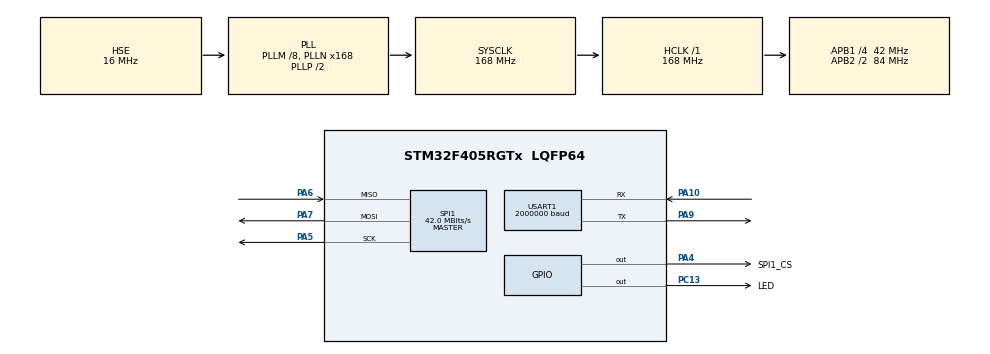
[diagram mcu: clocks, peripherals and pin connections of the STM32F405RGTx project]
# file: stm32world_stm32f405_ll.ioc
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Mcu.Family=STM32F4
Mcu.Name=STM32F405RGTx
Mcu.Package=LQFP64
NVIC.PriorityGroup=NVIC_PRIORITYGROUP_4
PA10.Mode=Asynchronous
PA10.Signal=USART1_RX
PA13.Mode=Trace_Asynchronous_SW
PA13.Signal=SYS_JTMS-SWDIO
PA14.Mode=Trace_Asynchronous_SW
PA14.Signal=SYS_JTCK-SWCLK
PA4.GPIO_Label=SPI1_CS
PA4.Signal=GPIO_Output
PA5.Mode=Full_Duplex_Master
PA5.Signal=SPI1_SCK
PA6.Mode=Full_Duplex_Master
PA6.Signal=SPI1_MISO
PA7.Mode=Full_Duplex_Master
PA7.Signal=SPI1_MOSI
PA9.Mode=Asynchronous
PA9.Signal=USART1_TX
PB3.Mode=Trace_Asynchronous_SW
PB3.Signal=SYS_JTDO-SWO
PC13-ANTI_TAMP.GPIO_Label=LED
PC13-ANTI_TAMP.GPIO_ModeDefaultOutputPP=GPIO_MODE_OUTPUT_OD
PC13-ANTI_TAMP.GPIO_PuPd=GPIO_NOPULL
PC13-ANTI_TAMP.PinState=GPIO_PIN_SET
PC13-ANTI_TAMP.Signal=GPIO_Output
PH0-OSC_IN.Mode=HSE-External-Oscillator
PH0-OSC_IN.Signal=RCC_OSC_IN
PH1-OSC_OUT.Mode=HSE-External-Oscillator
PH1-OSC_OUT.Signal=RCC_OSC_OUT
ProjectManager.HeapSize=0x200
ProjectManager.StackSize=0x400
ProjectManager.TargetToolchain=STM32CubeIDE
RCC.48MHZClocksFreq_Value=84000000
RCC.AHBFreq_Value=168000000
RCC.APB1CLKDivider=RCC_HCLK_DIV4
RCC.APB1Freq_Value=42000000
RCC.APB1TimFreq_Value=84000000
RCC.APB2CLKDivider=RCC_HCLK_DIV2
RCC.APB2Freq_Value=84000000
RCC.APB2TimFreq_Value=168000000
RCC.CortexFreq_Value=168000000
RCC.HCLKFreq_Value=168000000
RCC.HSE_VALUE=16000000
RCC.HSI_VALUE=16000000
RCC.LSE_VALUE=32768
RCC.PLLM=8
RCC.PLLN=168
RCC.PLLSourceVirtual=RCC_PLLSOURCE_HSE
RCC.SYSCLKFreq_VALUE=168000000
RCC.SYSCLKSource=RCC_SYSCLKSOURCE_PLLCLK
RCC.VCOOutputFreq_Value=336000000
SPI1.CalculateBaudRate=42.0 MBits/s
SPI1.Direction=SPI_DIRECTION_2LINES
SPI1.Mode=SPI_MODE_MASTER
SPI1.VirtualType=VM_MASTER
USART1.BaudRate=2000000
USART1.VirtualMode=VM_ASYNC
VP_CRC_VS_CRC.Mode=CRC_Activate
board=custom

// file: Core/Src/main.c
/* USER CODE BEGIN Header */
/**
 ******************************************************************************
 * @file           : main.c
 * @brief          : Main program body
 ******************************************************************************
 * @attention
 *
 * Copyright (c) 2025 Lars Boegild Thomsen <lbthomsen@gmail.com>
 * All rights reserved.
 *
 * This software is licensed under terms that can be found in the LICENSE file
 * in the root directory of this software component.
 * If no LICENSE file comes with this software, it is provided AS-IS.
 *
 ******************************************************************************
 */
/* USER CODE END Header */
#include "main.h"

/* USER CODE BEGIN Includes */
#include <stdio.h>
#include <string.h>
#include "w25qxx.h"
/* USER CODE END Includes */

/* USER CODE BEGIN PD */
#define PAGE_SIZE 4096
/* USER CODE END PD */

CRC_HandleTypeDef hcrc;

UART_HandleTypeDef huart1;

/* USER CODE BEGIN PV */
W25QXX_HandleTypeDef w25qxx; // Handler for all w25qxx operations!
/* USER CODE END PV */

void SystemClock_Config(void);
static void MX_GPIO_Init(void);
static void MX_SPI1_Init(void);
static void MX_USART1_UART_Init(void);
static void MX_CRC_Init(void);

/* USER CODE BEGIN 0 */

// Send printf to uart1
int _write(int fd, char *ptr, int len) {
    HAL_StatusTypeDef hstatus;

    if (fd == 1 || fd == 2) {
        hstatus = HAL_UART_Transmit(&huart1, (uint8_t*) ptr, len, HAL_MAX_DELAY);
        if (hstatus == HAL_OK)
            return len;
        else
            return -1;
    }
    return -1;
}

// Dump hex to serial console
void dump_hex(char *header, uint32_t start, uint8_t *buf, uint32_t len) {
    uint32_t i = 0;

    printf("%s\n", header);

    for (i = 0; i < len; ++i) {

        if (i % 16 == 0) {
            printf("0x%08lx: ", start);
        }

        printf("%02x ", buf[i]);

        if ((i + 1) % 16 == 0) {
            printf("\n");
        }

        ++start;
    }
}

void fill_buffer(uint8_t pattern, uint8_t *buf, uint32_t len) {
    switch (pattern) {
    case 0:
        memset(buf, 0, len);
        break;
    case 1:
        memset(buf, 0xaa, len); // 10101010
        break;
    case 2:
        for (uint32_t i = 0; i < len; ++i)
            buf[i] = i % 256;
        break;
    default:
        DBG("Programmer is a moron");
    }
}

uint8_t check_buffer(uint8_t pattern, uint8_t *buf, uint32_t len) {

    uint8_t ret = 1;

    switch (pattern) {
    case 0:
        for (uint32_t i = 0; i < len; ++i) {
            if (buf[i] != 0)
                ret = 0;
        }
        break;
    case 1:
        for (uint32_t i = 0; i < len; ++i) {
            if (buf[i] != 0xaa)
                ret = 0;
        }
        break;
    case 2:
        for (uint32_t i = 0; i < len; ++i) {
            if (buf[i] != i % 256)
                ret = 0;
        }
        break;
    default:
        DBG("Programmer is a moron");
    }

    return ret;
}

uint32_t get_sum(uint8_t *buf, uint32_t len) {
    uint32_t sum = 0;
    for (uint32_t i = 0; i < len; ++i) {
        sum += buf[i];
    }
    return sum;
}

/* USER CODE END 0 */

int main(void)
{

  /* MCU Configuration--------------------------------------------------------*/

  /* Reset of all peripherals, Initializes the Flash interface and the Systick. */
  HAL_Init();

  /* Configure the system clock */
  SystemClock_Config();

  /* Initialize all configured peripherals */
  MX_GPIO_Init();
  MX_SPI1_Init();
  MX_USART1_UART_Init();
  MX_CRC_Init();
  /* USER CODE BEGIN 2 */

    DBG("\n\n\n--------\nCore and peripherals has been initialized\n");

    HAL_Delay(10); // Wait a bit to make sure the w25qxx is ready

    W25QXX_result_t res;

    res = w25qxx_init(&w25qxx, &hspi1, SPI1_CS_GPIO_Port, SPI1_CS_Pin);

    if (res == W25QXX_Ok) {
        DBG("W25QXX successfully initialized\n");
        DBG("Manufacturer       = 0x%2x\n", w25qxx.manufacturer_id);
        DBG("Device             = 0x%4x\n", w25qxx.device_id);
        DBG("Block size         = 0x%04lx (%lu)\n", w25qxx.block_size, w25qxx.block_size);
        DBG("Block count        = 0x%04lx (%lu)\n", w25qxx.block_count, w25qxx.block_count);
        DBG("Sector size        = 0x%04lx (%lu)\n", w25qxx.sector_size, w25qxx.sector_size);
        DBG("Sectors per block  = 0x%04lx (%lu)\n", w25qxx.sectors_in_block, w25qxx.sectors_in_block);
        DBG("Page size          = 0x%04lx (%lu)\n", w25qxx.page_size, w25qxx.page_size);
        DBG("Pages per sector   = 0x%04lx (%lu)\n", w25qxx.pages_in_sector, w25qxx.pages_in_sector);
        DBG("Total size (in kB) = 0x%04lx (%lu)\n", (w25qxx.block_count * w25qxx.block_size) / 1024, (w25qxx.block_count * w25qxx.block_size) / 1024);
    } else {
        DBG("Unable to initialize w25qxx\n");
    }

    HAL_Delay(2000);

    uint8_t buf[PAGE_SIZE]; // Buffer the size of a page

    for (uint8_t run = 0; run <= 2; ++run) {

        DBG("\n-------------\nRun %d\n", run);

        DBG("Reading first page");

        res = w25qxx_read(&w25qxx, 0, (uint8_t*) &buf, sizeof(buf));
        if (res == W25QXX_Ok) {
            dump_hex("First page at start", 0, (uint8_t*) &buf, sizeof(buf));
        } else {
            DBG("Unable to read w25qxx\n");
        }

        DBG("Erasing first page");
        if (w25qxx_erase(&w25qxx, 0, sizeof(buf)) == W25QXX_Ok) {
            DBG("Reading first page\n");
            if (w25qxx_read(&w25qxx, 0, (uint8_t*) &buf, sizeof(buf)) == W25QXX_Ok) {
                dump_hex("After erase", 0, (uint8_t*) &buf, sizeof(buf));
            }
        }

        // Create a well known pattern
        fill_buffer(run, buf, sizeof(buf));

        // Write it to device
        DBG("Writing first page\n");
        if (w25qxx_write(&w25qxx, 0, (uint8_t*) &buf, sizeof(buf)) == W25QXX_Ok) {
            // now read it back
            DBG("Reading first page\n");
            if (w25qxx_read(&w25qxx, 0, (uint8_t*) &buf, sizeof(buf)) == W25QXX_Ok) {
                //DBG("  - sum = %lu", get_sum(buf, 256));
                dump_hex("After write", 0, (uint8_t*) &buf, sizeof(buf));
            }
        }
    }

    // Let's do a stress test
    uint32_t start;
    uint32_t sectors = w25qxx.block_count * w25qxx.sectors_in_block; // Entire chip

    DBG("Stress testing w25qxx device: sectors = %lu\n", sectors);

    DBG("Doing chip erase\n");
    start = HAL_GetTick();
    w25qxx_chip_erase(&w25qxx);
    DBG("Done erasing - took %lu ms\n", HAL_GetTick() - start);

    fill_buffer(0, buf, sizeof(buf));

    DBG("Writing all zeroes %lu sectors\n", sectors);
    start = HAL_GetTick();
    for (uint32_t i = 0; i < sectors; ++i) {
        w25qxx_write(&w25qxx, i * w25qxx.sector_size, buf, sizeof(buf));
    }
    DBG("Done writing - took %lu ms\n", HAL_GetTick() - start);

    DBG("Reading %lu sectors\n", sectors);
    start = HAL_GetTick();
    for (uint32_t i = 0; i < sectors; ++i) {
        w25qxx_read(&w25qxx, i * w25qxx.sector_size, buf, sizeof(buf));
    }
    DBG("Done reading - took %lu ms\n", HAL_GetTick() - start);

    DBG("Validating buffer .... ");
    if (check_buffer(0, buf, sizeof(buf))) {
        DBG("OK\n");
    } else {
        DBG("Not OK\n");
    }

    DBG("Doing chip erase\n");
    start = HAL_GetTick();
    w25qxx_chip_erase(&w25qxx);
    DBG("Done erasing - took %lu ms\n", HAL_GetTick() - start);

    fill_buffer(1, buf, sizeof(buf));

    DBG("Writing 10101010 %lu sectors\n", sectors);
    start = HAL_GetTick();
    for (uint32_t i = 0; i < sectors; ++i) {
        w25qxx_write(&w25qxx, i * w25qxx.sector_size, buf, sizeof(buf));
    }
    DBG("Done writing - took %lu ms\n", HAL_GetTick() - start);

    DBG("Reading %lu sectors\n", sectors);
    start = HAL_GetTick();
    for (uint32_t i = 0; i < sectors; ++i) {
        w25qxx_read(&w25qxx, i * w25qxx.sector_size, buf, sizeof(buf));
    }
    DBG("Done reading - took %lu ms\n", HAL_GetTick() - start);

    DBG("Validating buffer ... ");
    if (check_buffer(1, buf, sizeof(buf))) {
        DBG("OK\n");
    } else {
        DBG("Not OK\n");
    }

    DBG("Erasing %lu sectors sequentially\n", sectors);
    start = HAL_GetTick();
    for (uint32_t i = 0; i < sectors; ++i) {
        w25qxx_erase(&w25qxx, i * w25qxx.sector_size, sizeof(buf));
        if ((i > 0) && (i % 100 == 0)) {
            DBG("Done %4lu sectors - total time = %3lu s\n", i, (HAL_GetTick() - start) / 1000);
        }
    }
    DBG("Done erasing - took %lu ms\n", HAL_GetTick() - start);

  /* USER CODE END 2 */

  /* Infinite loop */
  /* USER CODE BEGIN WHILE */
    uint32_t now = 0, last_blink = 0, last_test = 0, offset_address = 0;

    while (1) {

        now = HAL_GetTick();

        if (now - last_blink >= 500) {

            HAL_GPIO_TogglePin(LED_GPIO_Port, LED_Pin);

            last_blink = now;
        }

        if (now - last_test >= 10000) {

            DBG("---------------\nReading page at address     : 0x%08lx\n", offset_address);

            res = w25qxx_read(&w25qxx, offset_address, (uint8_t*) &buf, sizeof(buf));
            if (res == W25QXX_Ok) {
                //dump_hex("First page at start", offset_address, (uint8_t*) &buf, sizeof(buf));
                DBG("Reading old value           : 0x%08lx\n", HAL_CRC_Calculate(&hcrc, (uint32_t* )&buf, sizeof(buf) / 4));
            } else {
                DBG("Unable to read w25qxx\n");
            }

            // DBG("Erasing page");
            if (w25qxx_erase(&w25qxx, offset_address, sizeof(buf)) == W25QXX_Ok) {
                if (w25qxx_read(&w25qxx, offset_address, (uint8_t*) &buf, sizeof(buf)) == W25QXX_Ok) {
                    DBG("After erase                 : 0x%08lx\n", HAL_CRC_Calculate(&hcrc, (uint32_t* )&buf, sizeof(buf) / 4));
                }
            }

            // Create a well known pattern
            fill_buffer(2, buf, sizeof(buf));

            // Write it to device
            DBG("Writing page value          : 0x%08lx\n", HAL_CRC_Calculate(&hcrc, (uint32_t* )&buf, sizeof(buf) / 4));
            if (w25qxx_write(&w25qxx, offset_address, (uint8_t*) &buf, sizeof(buf)) == W25QXX_Ok) {
                // now read it back
                //DBG("Reading page");
                if (w25qxx_read(&w25qxx, offset_address, (uint8_t*) &buf, sizeof(buf)) == W25QXX_Ok) {
                    DBG("Reading back                : 0x%08lx\n", HAL_CRC_Calculate(&hcrc, (uint32_t* )&buf, sizeof(buf) / 4));
                }
            }

            DBG("Test time                   : %lu ms\n", HAL_GetTick() - now);

            offset_address += PAGE_SIZE / 4;

            if (offset_address + PAGE_SIZE > w25qxx.block_count * w25qxx.block_size)
                offset_address = 0;

            last_test = now;
        }

    /* USER CODE END WHILE */

    }
}

void SystemClock_Config(void)
{
  RCC_OscInitTypeDef RCC_OscInitStruct = {0};
  RCC_ClkInitTypeDef RCC_ClkInitStruct = {0};

  /** Configure the main internal regulator output voltage
  */
  __HAL_RCC_PWR_CLK_ENABLE();
  __HAL_PWR_VOLTAGESCALING_CONFIG(PWR_REGULATOR_VOLTAGE_SCALE1);

  /** Initializes the RCC Oscillators according to the specified parameters
  * in the RCC_OscInitTypeDef structure.
  */
  RCC_OscInitStruct.OscillatorType = RCC_OSCILLATORTYPE_HSE;
  RCC_OscInitStruct.HSEState = RCC_HSE_ON;
  RCC_OscInitStruct.PLL.PLLState = RCC_PLL_ON;
  RCC_OscInitStruct.PLL.PLLSource = RCC_PLLSOURCE_HSE;
  RCC_OscInitStruct.PLL.PLLM = 8;
  RCC_OscInitStruct.PLL.PLLN = 168;
  RCC_OscInitStruct.PLL.PLLP = RCC_PLLP_DIV2;
  RCC_OscInitStruct.PLL.PLLQ = 4;
  if (HAL_RCC_OscConfig(&RCC_OscInitStruct) != HAL_OK)
  {
    Error_Handler();
  }

  /** Initializes the CPU, AHB and APB buses clocks
  */
  RCC_ClkInitStruct.ClockType = RCC_CLOCKTYPE_HCLK|RCC_CLOCKTYPE_SYSCLK
                              |RCC_CLOCKTYPE_PCLK1|RCC_CLOCKTYPE_PCLK2;
  RCC_ClkInitStruct.SYSCLKSource = RCC_SYSCLKSOURCE_PLLCLK;
  RCC_ClkInitStruct.AHBCLKDivider = RCC_SYSCLK_DIV1;
  RCC_ClkInitStruct.APB1CLKDivider = RCC_HCLK_DIV4;
  RCC_ClkInitStruct.APB2CLKDivider = RCC_HCLK_DIV2;

  if (HAL_RCC_ClockConfig(&RCC_ClkInitStruct, FLASH_LATENCY_5) != HAL_OK)
  {
    Error_Handler();
  }
}

static void MX_CRC_Init(void)
{

  hcrc.Instance = CRC;
  if (HAL_CRC_Init(&hcrc) != HAL_OK)
  {
    Error_Handler();
  }

}

static void MX_SPI1_Init(void)
{

  LL_SPI_InitTypeDef SPI_InitStruct = {0};

  LL_GPIO_InitTypeDef GPIO_InitStruct = {0};

  /* Peripheral clock enable */
  LL_APB2_GRP1_EnableClock(LL_APB2_GRP1_PERIPH_SPI1);

  LL_AHB1_GRP1_EnableClock(LL_AHB1_GRP1_PERIPH_GPIOA);
  /**SPI1 GPIO Configuration
  PA5   ------> SPI1_SCK
  PA6   ------> SPI1_MISO
  PA7   ------> SPI1_MOSI
  */
  GPIO_InitStruct.Pin = LL_GPIO_PIN_5|LL_GPIO_PIN_6|LL_GPIO_PIN_7;
  GPIO_InitStruct.Mode = LL_GPIO_MODE_ALTERNATE;
  GPIO_InitStruct.Speed = LL_GPIO_SPEED_FREQ_VERY_HIGH;
  GPIO_InitStruct.OutputType = LL_GPIO_OUTPUT_PUSHPULL;
  GPIO_InitStruct.Pull = LL_GPIO_PULL_NO;
  GPIO_InitStruct.Alternate = LL_GPIO_AF_5;
  LL_GPIO_Init(GPIOA, &GPIO_InitStruct);

  /* SPI1 parameter configuration*/
  SPI_InitStruct.TransferDirection = LL_SPI_FULL_DUPLEX;
  SPI_InitStruct.Mode = LL_SPI_MODE_MASTER;
  SPI_InitStruct.DataWidth = LL_SPI_DATAWIDTH_8BIT;
  SPI_InitStruct.ClockPolarity = LL_SPI_POLARITY_LOW;
  SPI_InitStruct.ClockPhase = LL_SPI_PHASE_1EDGE;
  SPI_InitStruct.NSS = LL_SPI_NSS_SOFT;
  SPI_InitStruct.BaudRate = LL_SPI_BAUDRATEPRESCALER_DIV2;
  SPI_InitStruct.BitOrder = LL_SPI_MSB_FIRST;
  SPI_InitStruct.CRCCalculation = LL_SPI_CRCCALCULATION_DISABLE;
  SPI_InitStruct.CRCPoly = 10;
  LL_SPI_Init(SPI1, &SPI_InitStruct);
  LL_SPI_SetStandard(SPI1, LL_SPI_PROTOCOL_MOTOROLA);

}

static void MX_USART1_UART_Init(void)
{

  huart1.Instance = USART1;
  huart1.Init.BaudRate = 2000000;
  huart1.Init.WordLength = UART_WORDLENGTH_8B;
  huart1.Init.StopBits = UART_STOPBITS_1;
  huart1.Init.Parity = UART_PARITY_NONE;
  huart1.Init.Mode = UART_MODE_TX_RX;
  huart1.Init.HwFlowCtl = UART_HWCONTROL_NONE;
  huart1.Init.OverSampling = UART_OVERSAMPLING_16;
  if (HAL_UART_Init(&huart1) != HAL_OK)
  {
    Error_Handler();
  }

}

static void MX_GPIO_Init(void)
{
  GPIO_InitTypeDef GPIO_InitStruct = {0};

  /* GPIO Ports Clock Enable */
  __HAL_RCC_GPIOC_CLK_ENABLE();
  __HAL_RCC_GPIOH_CLK_ENABLE();
  __HAL_RCC_GPIOA_CLK_ENABLE();
  __HAL_RCC_GPIOB_CLK_ENABLE();

  /*Configure GPIO pin Output Level */
  HAL_GPIO_WritePin(LED_GPIO_Port, LED_Pin, GPIO_PIN_SET);

  /*Configure GPIO pin Output Level */
  HAL_GPIO_WritePin(SPI1_CS_GPIO_Port, SPI1_CS_Pin, GPIO_PIN_RESET);

  /*Configure GPIO pin : LED_Pin */
  GPIO_InitStruct.Pin = LED_Pin;
  GPIO_InitStruct.Mode = GPIO_MODE_OUTPUT_OD;
  GPIO_InitStruct.Pull = GPIO_NOPULL;
  GPIO_InitStruct.Speed = GPIO_SPEED_FREQ_LOW;
  HAL_GPIO_Init(LED_GPIO_Port, &GPIO_InitStruct);

  /*Configure GPIO pin : SPI1_CS_Pin */
  GPIO_InitStruct.Pin = SPI1_CS_Pin;
  GPIO_InitStruct.Mode = GPIO_MODE_OUTPUT_PP;
  GPIO_InitStruct.Pull = GPIO_NOPULL;
  GPIO_InitStruct.Speed = GPIO_SPEED_FREQ_LOW;
  HAL_GPIO_Init(SPI1_CS_GPIO_Port, &GPIO_InitStruct);

}

void Error_Handler(void)
{
    __disable_irq();
    while (1)
    {
    }
}
